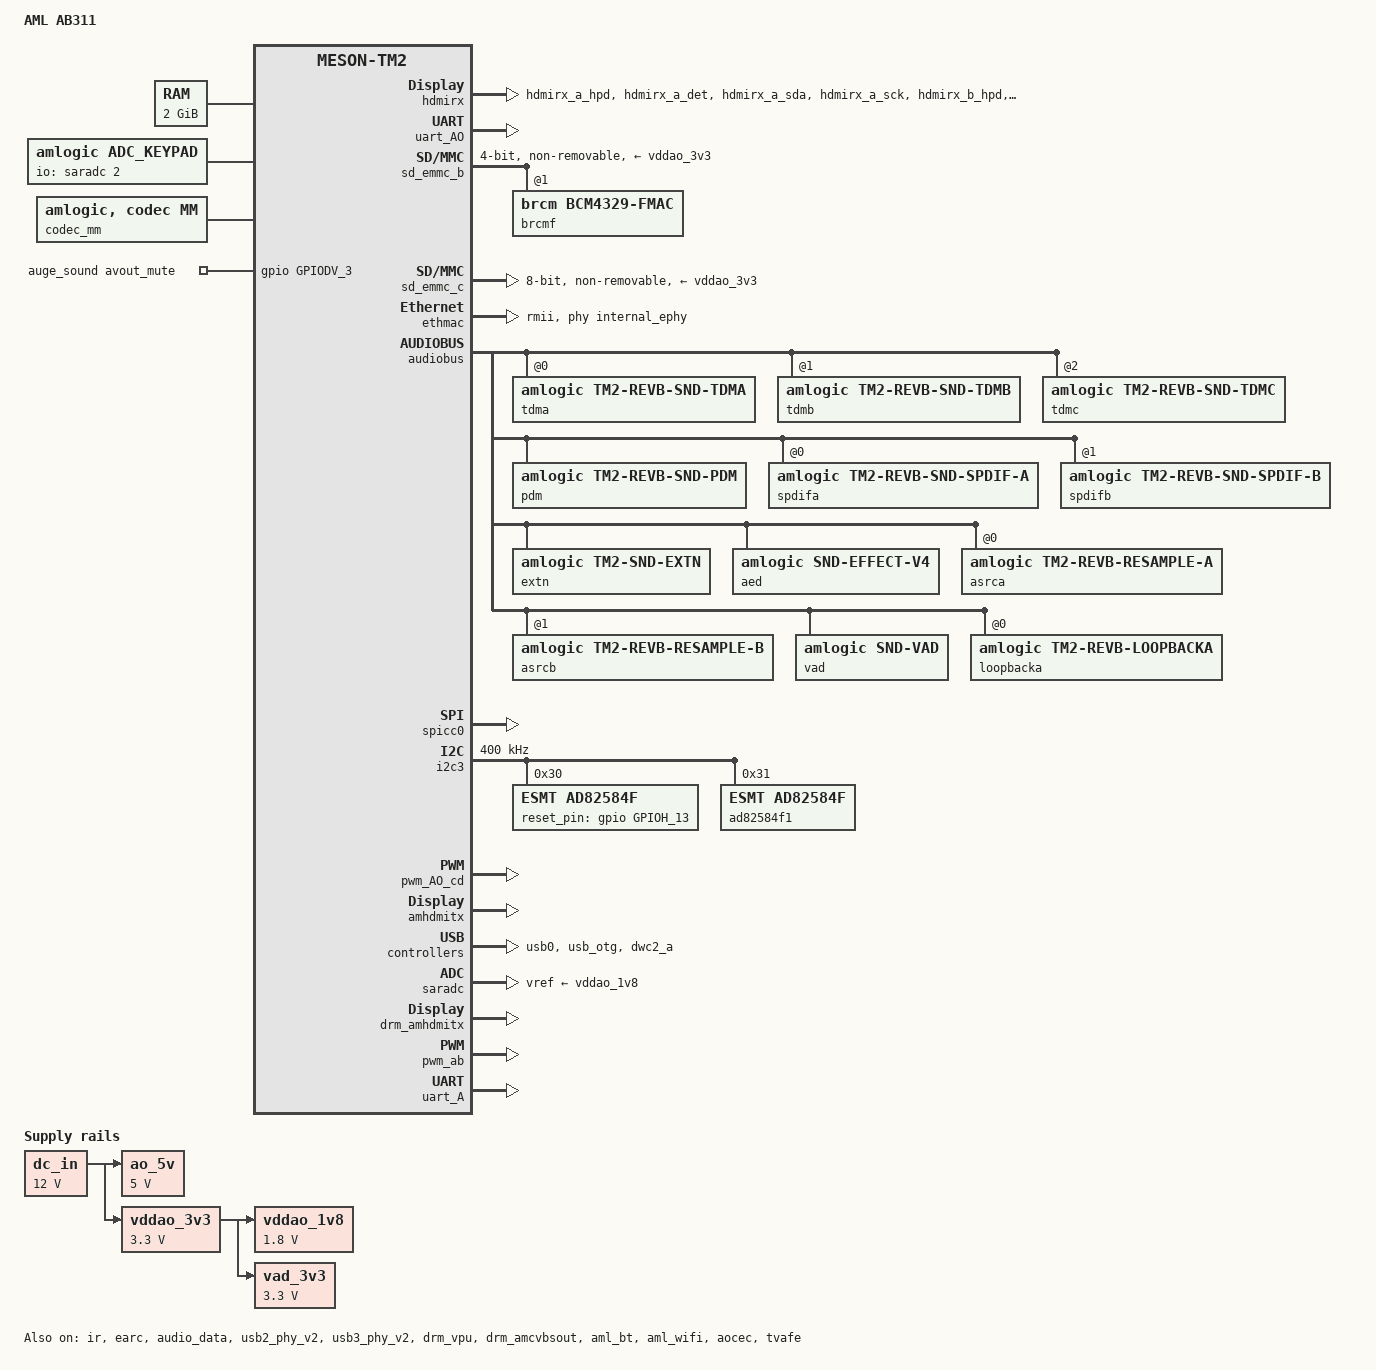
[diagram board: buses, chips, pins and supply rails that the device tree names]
// SPDX-License-Identifier: (GPL-2.0+ OR MIT)
/*
 * Copyright (c) 2019 Amlogic, Inc. All rights reserved.
 */

/dts-v1/;

#include "meson-tm2.dtsi"
#include "mesontm2_drm.dtsi"
#include "partition_normal_linux.dtsi"

/ {
	compatible = "amlogic,tm2";
	model = "AML AB311";

	aliases {
		serial0 = &uart_AO;
		serial1 = &uart_A;
		serial2 = &uart_B;
		serial3 = &uart_C;
		serial4 = &uart_AO_B;
		ethernet0 = &ethmac;
		i2c0 = &i2c0;
		i2c1 = &i2c1;
		i2c2 = &i2c2;
		i2c3 = &i2c3;
		i2c4 = &i2c_AO;
		spi1 = &spicc0;
		spi2 = &spicc1;
		tsensor0 = &p_tsensor;
		tsensor1 = &d_tsensor;
	};

	chosen {
		stdout-path = "serial0:115200n8";
	};

	memory@0 {
		device_type = "memory";
		reg = <0x0 0x0 0x0 0x80000000>;
	};

	adc_keypad {
		compatible = "amlogic, adc_keypad";
		status = "okay";
		key_name = "vol-", "vol+", "enter";
		key_num = <3>;
		io-channels = <&saradc 2>;
		io-channel-names = "key-chan-2";
		key_chan = <2 2 2>;
		key_code = <114 115 28>;
		key_val = <143 266 389>; //val=voltage/1800mV*1023
		key_tolerance = <40 40 40>;
	};

	unifykey {
		compatible = "amlogic,unifykey";
		status = "okay";

		unifykey-num = <25>;
		unifykey-index-0 = <&keysn_0>;
		unifykey-index-1 = <&keysn_1>;
		unifykey-index-2 = <&keysn_2>;
		unifykey-index-3 = <&keysn_3>;
		unifykey-index-4 = <&keysn_4>;
		unifykey-index-5 = <&keysn_5>;
		unifykey-index-6 = <&keysn_6>;
		unifykey-index-7 = <&keysn_7>;
		unifykey-index-8 = <&keysn_8>;
		unifykey-index-9 = <&keysn_9>;
		unifykey-index-10= <&keysn_10>;
		unifykey-index-11 = <&keysn_11>;
		unifykey-index-12 = <&keysn_12>;
		unifykey-index-13 = <&keysn_13>;
		unifykey-index-14 = <&keysn_14>;
		unifykey-index-15 = <&keysn_15>;
		unifykey-index-16 = <&keysn_16>;
		unifykey-index-17 = <&keysn_17>;
		unifykey-index-18 = <&keysn_18>;
		unifykey-index-19 = <&keysn_19>;
		unifykey-index-20 = <&keysn_20>;
		unifykey-index-21 = <&keysn_21>;
		unifykey-index-22 = <&keysn_22>;
		unifykey-index-23 = <&keysn_23>;
		unifykey-index-24 = <&keysn_24>;

		keysn_0: key_0{
			key-name = "usid";
			key-device = "normal";
			key-permit = "read","write","del";
		};
		keysn_1:key_1{
			key-name = "mac";
			key-device  = "normal";
			key-permit = "read","write","del";
		};
		keysn_2:key_2{
			key-name = "hdcp";
			key-device = "secure";
			key-type  = "sha1";
			key-permit = "read","write","del";
		};
		keysn_3:key_3{
			key-name = "secure_boot_set";
			key-device = "efuse";
			key-permit = "write";
		};
		keysn_4:key_4{
			key-name = "mac_bt";
			key-device = "normal";
			key-permit = "read","write","del";
			key-type  = "mac";
		};
		keysn_5:key_5{
			key-name = "mac_wifi";
			key-device = "normal";
			key-permit = "read","write","del";
			key-type  = "mac";
		};
		keysn_6:key_6{
			key-name = "hdcp2_tx";
			key-device = "normal";
			key-permit = "read","write","del";
		};
		keysn_7:key_7{
			key-name = "hdcp2_rx";
			key-device = "normal";
			key-permit = "read","write","del";
		};
		keysn_8:key_8{
			key-name = "widevinekeybox";
			key-device = "secure";
			key-type = "sha1";
			key-permit = "read","write","del";
		};
		keysn_9:key_9{
			key-name = "deviceid";
			key-device = "normal";
			key-permit = "read","write","del";
		};
		keysn_10:key_10{
			key-name = "hdcp22_fw_private";
			key-device = "secure";
			key-permit = "read","write","del";
		};
		keysn_11:key_11{
			key-name = "hdcp22_rx_private";
			key-device = "secure";
			key-permit = "read","write","del";
		};
		keysn_12:key_12{
			key-name = "hdcp22_rx_fw";
			key-device = "normal";
			key-permit = "read","write","del";
		};
		keysn_13:key_13{
			key-name = "hdcp14_rx";
			key-device = "normal";
			key-type  = "sha1";
			key-permit = "read","write","del";
		};
		keysn_14:key_14{
			key-name = "prpubkeybox";// PlayReady
			key-device = "secure";
			key-permit = "read","write","del";
		};
		keysn_15:key_15{
			key-name = "prprivkeybox";// PlayReady
			key-device = "secure";
			key-permit = "read","write","del";
		};
		keysn_16:key_16{
			key-name = "lcd";
			key-device = "normal";
			key-permit = "read","write","del";
		};
		keysn_17:key_17{
			key-name = "lcd_extern";
			key-device = "normal";
			key-permit = "read","write","del";
		};
		keysn_18:key_18{
			key-name = "backlight";
			key-device = "normal";
			key-permit = "read","write","del";
		};
		keysn_19:key_19{
			key-name = "lcd_tcon";
			key-device = "normal";
			key-permit = "read","write","del";
		};
		keysn_20:key_20{
			key-name = "attestationkeybox";// attestation key
			key-device = "secure";
			key-permit = "read","write","del";
		};
		keysn_21:key_21{
			key-name = "lcd_tcon_spi";
			key-device = "normal";
			key-permit = "read","write","del";
		};
		keysn_22:key_22{
			key-name = "attestationdevidbox";// attest dev id box
			key-device = "secure";
			key-permit = "read","write","del";
		};
		keysn_23:key_23{
			key-name = "oemkey";
			key-device = "normal";
			key-permit = "read","write","del";
		};
		keysn_24:key_24{
			key-name = "lcd_optical";
			key-device = "normal";
			key-permit = "read","write","del";
		};
	}; /* End unifykey */

	ao_5v: regulator-ao_5v {
		compatible = "regulator-fixed";
		regulator-name = "AO_5V";
		regulator-min-microvolt = <5000000>;
		regulator-max-microvolt = <5000000>;
		vin-supply = <&dc_in>;
		regulator-always-on;
	};

	dc_in: regulator-dc_in {
		compatible = "regulator-fixed";
		regulator-name = "DC_IN";
		regulator-min-microvolt = <12000000>;
		regulator-max-microvolt = <12000000>;
		regulator-always-on;
	};

	reserved-memory {
		secmon_reserved:linux,secmon {
			compatible = "shared-dma-pool";
			reusable;
			size = <0x0 0x400000>;
			alignment = <0x0 0x400000>;
			alloc-ranges = <0x0 0x05000000 0x0 0x400000>;
		};

		dsp_fw_reserved:linux,dsp_fw {
			compatible = "shared-dma-pool";
			reusable;
			size = <0x0 0x1000000>;
			alignment = <0x0 0x400000>;
			alloc-ranges = <0x0 0x30000000 0x0 0x1000000>;
		};

		/*  POST PROCESS MANAGER */
		ppmgr_reserved:linux,ppmgr {
			compatible = "shared-dma-pool";
			size = <0x0>;
		};

		logo_reserved:linux,meson-fb {
			compatible = "shared-dma-pool";
			reusable;
			size = <0x0 0x800000>;
			alignment = <0x0 0x400000>;
			alloc-ranges = <0x0 0x7f800000 0x0 0x800000>;
		};

		ion_cma_reserved:linux,ion-dev {
			compatible = "shared-dma-pool";
			reusable;
			size = <0x0 0x5c00000>;
			alignment = <0x0 0x400000>;
		};
		ion_fb_reserved:linux,ion-fb {
			compatible = "shared-dma-pool";
			reusable;
			/* 1920x1080x4x4 round up 4M align */
			size = <0x0 0x2400000>;
			alignment = <0x0 0x400000>;
		};

		codec_mm_cma:linux,codec_mm_cma {
			compatible = "shared-dma-pool";
			reusable;
			/* ion_codec_mm max can alloc size 80M*/
			size = <0x0 0x1bc00000>;
			alignment = <0x0 0x400000>;
			linux,contiguous-region;
		};

		/* codec shared reserved */
		codec_mm_reserved:linux,codec_mm_reserved {
			compatible = "amlogic, codec-mm-reserved";
			size = <0x0 0x0>;
			alignment = <0x0 0x100000>;
		};

		/*di CMA pool */
		di_cma_reserved:linux,di_cma {
			//compatible = "shared-dma-pool";
			//reusable;
			//size = <0x0 0x02800000>;
			//alignment = <0x0 0x400000>;
		};

		/*  vdin0 CMA pool */
		//vdin0_cma_reserved:linux,vdin0_cma {
		//	compatible = "shared-dma-pool";
		//	reusable;
			/* 3840x2160x4x4 ~=128 M */
		//	size = <0x0 0xc400000>;
		//	alignment = <0x0 0x400000>;
		//};

		/*  vdin1 CMA pool */
		vdin1_cma_reserved:linux,vdin1_cma {
			compatible = "shared-dma-pool";
			reusable;
			/* 1920x1080x2x5  =20 M */
			size = <0x0 0x1400000>;
			alignment = <0x0 0x400000>;
		};
	};

	codec_mm {
		compatible = "amlogic, codec, mm";
		memory-region = <&codec_mm_cma &codec_mm_reserved>;
		dev_name = "codec_mm";
		status = "okay";
	};

	ppmgr {
		compatible = "amlogic, ppmgr";
		memory-region = <&ppmgr_reserved>;
		dev_name = "ppmgr";
		status = "okay";
	};

	hdmirx {
		compatible = "amlogic, hdmirx_tm2_b";
		#address-cells=<1>;
		#size-cells=<1>;
		/*memory-region = <&hdmirx_emp_cma_reserved>;*/
		status = "okay";
		pinctrl-names = "hdmirx_pins";
		pinctrl-0 = <&hdmirx_a_mux &hdmirx_b_mux
			&hdmirx_c_mux>;
		repeat = <0>;
		/* bit 4: tdr enable bit
		 * bits [3:0]: tdr level control
		 */
		term_lvl = <0x11>;
		interrupts = <0 41 IRQ_TYPE_LEVEL_HIGH>;
		clocks = <&clkc CLKID_HDMIRX_MODET_GATE>,
				<&clkc CLKID_HDMIRX_CFG_GATE>,
				<&clkc CLKID_HDMIRX_ACR_GATE>,
				<&clkc CLKID_HDMIRX_METER_GATE>,
				<&clkc CLKID_HDMIRX_AXI_GATE>,
				<&xtal>,
				<&clkc CLKID_FCLK_DIV3>,
				<&clkc CLKID_FCLK_DIV5>,
				<&clkc CLKID_FCLK_DIV7>,
				<&clkc CLKID_HDMIRX_SKP_GATE>,
				<&clkc CLKID_HDMIRX_ESM_GATE>;
				//<&clkc CLK_AUD_PLL2FS>,
				//<&clkc CLK_AUD_PLL4FS>,
				//<&clkc CLK_AUD_OUT>;
		clock-names = "hdmirx_modet_clk",
				"hdmirx_cfg_clk",
				"hdmirx_acr_ref_clk",
				"cts_hdmirx_meter_clk",
				"cts_hdmi_axi_clk",
				"xtal",
				"fclk_div3",
				"fclk_div5",
				"fclk_div7",
				"hdcp_rx22_skp",
				"hdcp_rx22_esm";
				//"hdmirx_aud_pll2fs",
				//"hdmirx_aud_pll4f",
				//"clk_aud_out";
		hdmirx_id = <0>;
		en_4k_2_2k = <0>;
		hpd_low_cec_off = <0>;
		cec_dev_en = <0>;
		arc_port = <1>;
		/* bit4: enable feature, bit3~0: port number */
		disable_port = <0x0>;
		hdcp_tee_path = <1>;
		/* MAP_ADDR_MODULE_CBUS */
		/* MAP_ADDR_MODULE_HIU */
		/* MAP_ADDR_MODULE_HDMIRX_CAPB3 */
		/* MAP_ADDR_MODULE_SEC_AHB */
		/* MAP_ADDR_MODULE_SEC_AHB2 */
		/* MAP_ADDR_MODULE_APB4 */
		/* MAP_ADDR_MODULE_TOP */
		/* MAP_ADDR_MODULE_CLK_CTRL */
		reg = < 0x0 0x0 0x0 0x0
			0x0 0xff63C000 0x0 0x2000
			0x0 0xffe0d000 0x0 0x2000
			0x0 0x0 0x0 0x0
			0x0 0x0 0x0 0x0
			0x0 0x0 0x0 0x0
			0x0 0xff610000 0x0 0xa000>;
	};

	aml_dtv_demod {
		compatible = "amlogic, ddemod-tm2";
		dev_name = "aml_dtv_demod";
		status = "disabled";

		//pinctrl-names="dtvdemod_agc";
		//pinctrl-0=<&dtvdemod_agc>;

		clocks = <&clkc CLKID_DAC_CLK>;
		clock-names = "vdac_clk_gate";

		reg = <0x0 0xff650000 0x0 0x4000	/*dtv demod base*/
			   0x0 0xff63c000 0x0 0x2000	/*hiu reg base*/
			   0x0 0xff800000 0x0 0x1000	/*io_aobus_base*/
			   0x0 0xffd01000 0x0 0x1000	/*reset*/
			>;

		spectrum = <1>;
		cma_mem_size = <8>; // MB

		power-domains = <&pwrc PWRC_TM2_DEMOD_ID>;
	};

	atv-demod {
		compatible = "amlogic, atv-demod";
		status = "disabled";
		btsc_sap_mode = <1>;
		interrupts = <0 236 1>;
		/* pinctrl-names="atvdemod_agc_pins"; */
		/* pinctrl-0=<&atvdemod_agc_pins>; */
		reg = <0x0 0xff656000 0x0 0x2000 /* demod reg */
				0x0 0xff63c000 0x0 0x2000 /* hiu reg */
				0x0 0xff634000 0x0 0x2000 /* periphs reg */
				0x0 0xff64a000 0x0 0x2000>; /* audio reg */
		reg_23cf = <0x88188832>;
		/*default:0x88188832;r840 on haier:0x48188832*/
		power-domains = <&pwrc PWRC_TM2_ATVDEMOD_ID>;
	};

	dvb-extern {
		compatible = "amlogic, dvb-extern";
		dev_name = "dvb-extern";
		status = "disabled";

		fe_num = <1>;
		fe0_demod = "internal";

		tuner_num = <1>; /* tuner number, multi tuner support */
		tuner0_name = "si2151_tuner";
		tuner0_i2c_adap = <&i2c0>;
		tuner0_i2c_addr = <0x60>;
		/* tuner0_xtal = <0>; */ /* unuse for si2151 */
		/* tuner0_xtal_mode = <0>; */
		/* tuner0_xtal_cap = <0>; */
	};

	dvb-demux {
		compatible = "amlogic, dvb-demux";
		dev_name = "dvb-demux";
		status = "disabled";

		dmx = <&demux>;
		key_endia = <1>;
		add_s2p2 = <1>;
		add_ts_in = <1>;
		add_asyncfifo = <1>;

		/*"parallel","serial","disable"*/
		ts2 = "parallel";
		ts2_control = <0>;
		ts2_invert = <0>;

		clocks = <&clkc CLKID_DEMUX
		&clkc CLKID_AHB_ARB0
		&clkc CLKID_U_PARSER>;
		clock-names = "demux", "ahbarb0", "parser_top";
		pinctrl-names = "p_ts2";
		pinctrl-0 = <&dvb_p_ts2_pins>;
	};

	tvafe_avin_detect {
		compatible = "amlogic, tm2_tvafe_avin_detect";
		status = "okay";
		device_mask = <1>;/*bit0:ch1;bit1:ch2*/
		interrupts = <0 12 1>,
			<0 13 1>;
	};

	auge_sound {
		compatible = "amlogic, auge-sound-card";
		aml-audio-card,name = "AML-AUGESOUND";

		avout_mute-gpios = <&gpio GPIODV_3 GPIO_ACTIVE_HIGH>;

		interrupts = <GIC_SPI 235 IRQ_TYPE_EDGE_RISING>;
		interrupt-names = "audio_exception64";

		aml-audio-card,dai-link@0 {
			format = "i2s";
			mclk-fs = <256>;
			continuous-clock;
			//bitclock-inversion;
			//frame-inversion;
			/* master mode */
			bitclock-master = <&tdma>;
			frame-master = <&tdma>;
			/* slave mode */
			/*
			 * bitclock-master = <&tdmacodec>;
			 * frame-master = <&tdmacodec>;
			 */
			/* suffix-name, sync with android audio hal used for */
			suffix-name = "alsaPORT-i2s";
			tdmacpu: cpu {
				sound-dai = <&tdma>;
				dai-tdm-slot-tx-mask =
							<1 1>;
				dai-tdm-slot-rx-mask =
							<1 1>;
				dai-tdm-slot-num = <2>;
				dai-tdm-slot-width = <32>;
				system-clock-frequency = <12288000>;
			};
			tdmacodec: codec {
				//sound-dai = <&dummy_codec>;
				prefix-names = "AMP", "AMP1";
				sound-dai = <&ad82584f &ad82584f1 &tl1_codec>;
			};
		};

		aml-audio-card,dai-link@1 {
			format = "i2s";
			mclk-fs = <256>;
			//continuous-clock;
			//bitclock-inversion;
			//frame-inversion;
			/* master mode */
			bitclock-master = <&tdmb>;
			frame-master = <&tdmb>;
			/* slave mode */
			//bitclock-master = <&tdmbcodec>;
			//frame-master = <&tdmbcodec>;
			/* suffix-name, sync with android audio hal used for */
			suffix-name = "alsaPORT-pcm";
			cpu {
				sound-dai = <&tdmb>;
				dai-tdm-slot-tx-mask = <1 1>;
				dai-tdm-slot-rx-mask = <1 1>;
				dai-tdm-slot-num = <2>;
				/*
				 * dai-tdm-slot-tx-mask =
				 *	<1 1 1 1 1 1 1 1>;
				 * dai-tdm-slot-rx-mask =
				 *	<1 1 1 1 1 1 1 1>;
				 * dai-tdm-slot-num = <8>;
				 */
				dai-tdm-slot-width = <32>;
				system-clock-frequency = <12288000>;
			};
			tdmbcodec: codec {
				sound-dai = <&dummy_codec>;
			};
		};

		aml-audio-card,dai-link@2 {
			format = "i2s";
			mclk-fs = <256>;
			//continuous-clock;
			//bitclock-inversion;
			//frame-inversion;
			/* master mode */
			bitclock-master = <&tdmc>;
			frame-master = <&tdmc>;
			/* slave mode */
			//bitclock-master = <&tdmccodec>;
			//frame-master = <&tdmccodec>;
			/* suffix-name, sync with android audio hal used for */
			//suffix-name = "alsaPORT-tdm";
			cpu {
				sound-dai = <&tdmc>;
				dai-tdm-slot-tx-mask = <1 1>;
				dai-tdm-slot-rx-mask = <1 1>;
				dai-tdm-slot-num = <2>;
				dai-tdm-slot-width = <32>;
				system-clock-frequency = <12288000>;
			};
			tdmccodec: codec {
				sound-dai = <&dummy_codec>;
			};
		};

		aml-audio-card,dai-link@3 {
			mclk-fs = <64>;
			/* suffix-name, sync with android audio hal used for */
			suffix-name = "alsaPORT-pdm-builtinmic";
			cpu {
				sound-dai = <&pdm>;
			};
			codec {
				sound-dai = <&dummy_codec>;
			};
		};

		aml-audio-card,dai-link@4 {
			mclk-fs = <128>;
			continuous-clock;
			/* suffix-name, sync with android audio hal used for */
			suffix-name = "alsaPORT-spdif";
			cpu {
				sound-dai = <&spdifa>;
				system-clock-frequency = <6144000>;
			};
			codec {
				sound-dai = <&dummy_codec>;
			};
		};

		aml-audio-card,dai-link@5 {
			mclk-fs = <128>;
			suffix-name = "alsaPORT-spdifb";
			cpu {
				sound-dai = <&spdifb>;
				system-clock-frequency = <6144000>;
			};
			codec {
				sound-dai = <&dummy_codec>;
			};
		};

		aml-audio-card,dai-link@6 {
			mclk-fs = <256>;
			suffix-name = "alsaPORT-tv";
			cpu {
				sound-dai = <&extn>;
				system-clock-frequency = <12288000>;
			};
			codec {
				sound-dai = <&dummy_codec>;
			};
		};

		aml-audio-card,dai-link@7 {
			mclk-fs = <256>;
			suffix-name = "alsaPORT-earc";
			cpu {
				sound-dai = <&earc>;
				system-clock-frequency = <12288000>;
			};
			codec {
				sound-dai = <&dummy_codec>;
			};
		};

		aml-audio-card,dai-link@8 {
			mclk-fs = <256>;
			continuous-clock;
			suffix-name = "alsaPORT-loopback";
			cpu {
				sound-dai = <&loopbacka>;
				system-clock-frequency = <12288000>;
			};
			codec {
				sound-dai = <&dummy_codec>;
			};
		};
	};

	amlvecm {
		compatible = "amlogic, vecm-tm2-verb";
		dev_name = "aml_vecm";
		status = "okay";
		gamma_en = <0>;/*1:enabel ;0:disable*/
		wb_en = <0>;/*1:enabel ;0:disable*/
		cm_en = <0>;/*1:enabel ;0:disable*/
		wb_sel = <0>;/*1:mtx ;0:gainoff*/
		vlock_en = <0>;/*1:enable;0:disable*/
		vlock_mode = <0x8>;
		/* vlock work mode:
		 *bit0:auto ENC
		 *bit1:auto PLL
		 *bit2:manual PLL
		 *bit3:manual ENC
		 *bit4:manual soft ENC
		 *bit5:manual MIX PLL ENC
		 */
		 vlock_pll_m_limit = <1>;
		 vlock_line_limit = <2>;
	};

	amdolby_vision {
		compatible = "amlogic, dolby_vision_tm2";
		dev_name = "aml_amdolby_vision_driver";
		status = "okay";
		tv_mode = <0>;/*1:enabel ;0:disable*/
	};

	vdin@0 {
		compatible = "amlogic, vdin-tm2verb";
		/*memory-region = <&vdin0_cma_reserved>;*/
		status = "okay";
		/*bit0:(1:share with codec_mm;0:cma alone)
		 *bit8:(1:alloc in discontinus way;0:alone in continuous way)
		 */
		flag_cma = <0x101>;
		/*MByte, if 10bit disable: 64M(YUV422),
		 *if 10bit enable: 64*1.5 = 96M(YUV422)
		 *if support 4K2K-YUV444-10bit-WR:3840*2160*4*6 ~= 200M
		 *if support 4K2K-YUV422-10bit-wr:3840*2160*3*6 ~= 160M
		 *if support 4K2K-YUV422-8BIT-WR:3840*2160*2*4 ~= 64M
		 *if support 1080p-YUV422-8BIT-WR:1920*1080*2*4 ~= 16M
		 *worst case:(4096*2160*3 + 2M(afbce issue)) *10buf = 273.5M
		 *for double write 4k, need extra 25M for 960x540(1/4 down)
		 */
		cma_size = <300>;
		/* max buffer number */
		frame_buff_num = <10>;
		interrupts = <0 83 1 /* vdin0 vsync */
			      0 72 1>;/* vpu crash */
		rdma-irq = <2>;
		clocks = <&clkc CLKID_FCLK_DIV5>,
			<&clkc CLKID_VDIN_MEAS>;
		clock-names = "fclk_div5", "cts_vdin_meas_clk";
		vdin_id = <0>;
		/*vdin write mem color depth support:
		 * bit0:support 8bit
		 * bit1:support 9bit
		 * bit2:support 10bit
		 * bit3:support 12bit
		 * bit4:support yuv422 10bit full pack mode (from txl new add)
		 * bit5:force yuv422 to yuv444 malloc (for vdin0 debug)
		 * bit8:use 8bit  at 4k_50/60hz_10bit
		 * bit9:use 10bit at 4k_50/60hz_10bit
		 * bit10: support 10bit when double write
		 */
		tv_bit_mode = <0x235>;
		/* afbce_bit_mode: (amlogic frame buff compression encoder)
		 * bit0 -- enable afbce
		 * bit1 -- enable afbce compression-lossy
		 * bit4 -- afbce for 4k
		 * bit5 -- afbce for 1080p
		 * bit6 -- afbce for 720p
		 * bit7 -- afbce for smaller resolution
		 */
		afbce_bit_mode = <0x11>;
		/* urgent_en; */
		double_write_en;
		v4l_support_en = <0>;
	};

	vdin@1 {
		compatible = "amlogic, vdin-tm2verb";
		memory-region = <&vdin1_cma_reserved>;
		status = "okay";
		/*bit0:(1:share with codec_mm;0:cma alone)
		 *bit8:(1:alloc in discontinus way;0:alone in continuous way)
		 */
		flag_cma = <0>;
		interrupts = <0 85 1>;
		rdma-irq = <4>;
		clocks = <&clkc CLKID_FCLK_DIV5>,
			<&clkc CLKID_VDIN_MEAS>;
		clock-names = "fclk_div5", "cts_vdin_meas_clk";
		vdin_id = <1>;
		/*vdin write mem color depth support:
		 *bit0:support 8bit
		 *bit1:support 9bit
		 *bit2:support 10bit
		 *bit3:support 12bit
		 */
		tv_bit_mode = <0x15>;
		/*urgent_en*/
	};

	vddao_1v8: regulator-vddao_1v8 {
		compatible = "regulator-fixed";
		regulator-name = "VDDAO_1V8";
		regulator-min-microvolt = <1800000>;
		regulator-max-microvolt = <1800000>;
		vin-supply = <&vddao_3v3>;
		regulator-always-on;
	};

	vddao_3v3: regulator-vddao_3v3 {
		compatible = "regulator-fixed";
		regulator-name = "VDDAO_3V3";
		regulator-min-microvolt = <3300000>;
		regulator-max-microvolt = <3300000>;
		vin-supply = <&dc_in>;
		regulator-always-on;
	};

	vad_3v3: regulator-vad_3v3 {
		compatible = "regulator-fixed";
		regulator-name = "VAD_3V3";
		regulator-min-microvolt = <3300000>;
		regulator-max-microvolt = <3300000>;
		vin-supply = <&vddao_3v3>;
		regulator-always-on;
	};

	multi-di {
		//status = "okay";
		/***************************************************
		 * memory: default is 4
		 *	0:use reserved;
		 *	1:use cma;
		 *	2:use cma as reserved
		 *  4:use codec mem
		 ***************************************************/
		//flag_cma = <4>;//t5d unsupport 4K,di 1CH need 42M
		//memory-region = <&di_cma_reserved>;
		/***************************************************
		 * clock-range: <min max>
		 *	default: <334 334>
		 ***************************************************/
		//clock-range = <334 334>;
		/***************************************************
		 * en_4k: t5d not support 4k
		 ***************************************************/
		//en_4k = <0>;
		//keep_dec_vf = <0>;
		//po_fmt = <0>;
		/***************************************************
		 * post_nub: default is 7
		 ***************************************************/
		//post_nub = <7>;
	};

       aocec: aocec {
		compatible = "amlogic, aocec-tm2";
		/*device_name = "aocec";*/
		status = "okay";
		vendor_name = "Amlogic"; /* Max Chars: 8         */
		/* Refer to the following URL at:
		 * http://standards.ieee.org/develop/regauth/oui/oui.txt
		 */
		vendor_id = <0xffffff>;
		product_desc = "TM2"; /* Max Chars: 16    */
		cec_osd_string = "AML_TV"; /* Max Chars: 14    */
		port_num = <4>;
		ee_cec;
		/*cec_sel = <2>;*/
		output = <1>;   /*output port number*/
		arc_port_mask = <0x2>;
		interrupts = <0 203 1
			0 199 1>;
		interrupt-names = "hdmi_aocecb","hdmi_aocec";
		pinctrl-names = "default","hdmitx_aocecb","cec_pin_sleep";
		pinctrl-0=<&aoceca_mux>;
		pinctrl-1=<&aocecb_mux>;
		pinctrl-2=<&aoceca_mux>;
		reg = <0x0 0xFF80023c 0x0 0x4
			0x0 0xFF800000 0x0 0x400>;
		reg-names = "ao_exit","ao";
	};

	cpu_opp_table0: cpu_opp_table0 {
		compatible = "operating-points-v2";
		opp-shared;

		opp00 {
			opp-hz = /bits/ 64 <100000000>;
			opp-microvolt = <780000>;
		};
		opp01 {
			opp-hz = /bits/ 64 <250000000>;
			opp-microvolt = <780000>;
		};
		opp02 {
			opp-hz = /bits/ 64 <500000000>;
			opp-microvolt = <780000>;
		};
		opp03 {
			opp-hz = /bits/ 64 <667000000>;
			opp-microvolt = <780000>;
		};
		opp04 {
			opp-hz = /bits/ 64 <1000000000>;
			opp-microvolt = <780000>;
		};
		opp05 {
			opp-hz = /bits/ 64 <1200000000>;
			opp-microvolt = <800000>;
		};
		opp06 {
			opp-hz = /bits/ 64 <1404000000>;
			opp-microvolt = <810000>;
		};
		opp07 {
			opp-hz = /bits/ 64 <1500000000>;
			opp-microvolt = <820000>;
		};
		opp08 {
			opp-hz = /bits/ 64 <1608000000>;
			opp-microvolt = <870000>;
		};
		opp09 {
			opp-hz = /bits/ 64 <1704000000>;
			opp-microvolt = <920000>;
		};
		opp10 {
			opp-hz = /bits/ 64 <1800000000>;
			opp-microvolt = <970000>;
		};
		opp11 {
			opp-hz = /bits/ 64 <1908000000>;
			opp-microvolt = <1020000>;
		};
	};

	cpufreq-meson {
		compatible = "amlogic, cpufreq-meson";
		pinctrl-names = "default";
		//pinctrl-0 = <&pwm_ao_d_pins3>;
		status = "okay";
	};

	picdec {
		compatible = "amlogic, picdec";
		status = "okay";
	};

	tvafe {
		compatible = "amlogic, tvafe-tm2_b";
		/*memory-region = <&tvafe_cma_reserved>;*/
		status = "okay";
		flag_cma = <1>;/*1:share with codec_mm;0:cma alone*/
		cma_size = <5>;/*MByte*/
		reg = <0x0 0xff654000 0x0 0x2000>; /*tvafe reg base*/
		reserve-iomap = "true";
		tvafe_id = <0>;
		//pinctrl-names = "default";
		/*!!particular sequence, no more and no less!!!*/
		tvafe_pin_mux = <
				3 /* TVAFE_CVBS_IN2, CVBS_IN0 = 0 */
				1 /* TVAFE_CVBS_IN0, CVBS_IN1 */
				2 /* TVAFE_CVBS_IN1, CVBS_IN2 */
				4 /* TVAFE_CVBS_IN3, CVBS_IN3 */
		>;
		clocks = <&clkc CLKID_DAC_CLK>;
		clock-names = "vdac_clk_gate";

		cutwindow_val_h = <0 0 0 0 8>; /* level 0~4 */
		cutwindow_val_v = <4 8 14 16 24>;  /* level 0~4 */

		power-domains = <&pwrc PWRC_TM2_TVFE_ID>;
	};

	vbi {
		compatible = "amlogic, vbi";
		status = "okay";
		interrupts = <0 83 1>;
	};

	cvbsout {
		compatible = "amlogic, cvbsout-tm2";
		status = "okay";
		clocks = <&clkc CLKID_VCLK2_ENCI
			&clkc CLKID_VCLK2_VENCI0
			&clkc CLKID_VCLK2_VENCI1
			&clkc CLKID_DAC_CLK>;
		clock-names = "venci_top_gate",
			"venci_0_gate",
			"venci_1_gate",
			"vdac_clk_gate";
		/* clk path */
		/* 0:vid_pll vid2_clk */
		/* 1:gp0_pll vid2_clk */
		/* 2:vid_pll vid1_clk */
		/* 3:gp0_pll vid1_clk */
		clk_path = <0>;

		/* performance: reg_address, reg_value */
		/* tm2 */
		performance = <0x1bf0  0x9
			0x1b56  0x333
			0x1b12  0x8080
			0x1b05  0xfd
			0x1c59  0xf850
			0xffff  0x0>; /* ending flag */
		performance_sarft = <0x1bf0  0x9
			0x1b56  0x333
			0x1b12  0x0
			0x1b05  0x9
			0x1c59  0xfc48
			0xffff  0x0>; /* ending flag */
		performance_revB_telecom = <0x1bf0  0x9
			0x1b56  0x546
			0x1b12  0x8080
			0x1b05  0x9
			0x1c59  0xf850
			0xffff  0x0>; /* ending flag */
	};
};

/* Exposed via the on-board USB to Serial FT232RL IC */
&uart_AO {
	status = "okay";
};

&sd_emmc_b {
	status = "okay";
	pinctrl-0 = <&sdcard_pins>;
	pinctrl-1 = <&sdcard_clk_gate_pins>;
	pinctrl-names = "default", "clk-gate";
	#address-cells = <1>;
	#size-cells = <0>;

	bus-width = <4>;
	cap-sd-highspeed;
	sd-uhs-sdr50;
	sd-uhs-sdr104;
	max-frequency = <200000000>;

	non-removable;
	disable-wp;
	cap-sdio-irq;
	keep-power-in-suspend;
	card_type = <3>;

	power-domains = <&pwrc PWRC_TM2_EMMCB_ID>;
//	mmc-pwrseq = <&sdio_pwrseq>;

	vmmc-supply = <&vddao_3v3>;
	vqmmc-supply = <&vddao_1v8>;

	brcmf: wifi@1 {
		reg = <1>;
		compatible = "brcm,bcm4329-fmac";
	};
};

&sd_emmc_c {
	status = "okay";
	pinctrl-0 = <&emmc_pins>, <&emmc_ds_pins>;
	pinctrl-1 = <&emmc_clk_gate_pins>;
	pinctrl-names = "default", "clk-gate";

	bus-width = <8>;
	cap-mmc-highspeed;
	//mmc-ddr-1_8v;
	mmc-hs200-1_8v;
	mmc-hs400-1_8v;
	max-frequency = <200000000>;
	non-removable;
	disable-wp;

	power-domains = <&pwrc PWRC_TM2_EMMCC_ID>;
//	mmc-pwrseq = <&emmc_pwrseq>;
	vmmc-supply = <&vddao_3v3>;
	vqmmc-supply = <&vddao_1v8>;
};

&ethmac {
	status = "okay";
	phy-handle = <&internal_ephy>;
	phy-mode = "rmii";
};

&i2c0 {
	status = "disabled";
	clock-frequency = <300000>;
	pinctrl-names = "default";
	pinctrl-0 = <&i2c0_dv_pins>;
};

&ir {
	status = "okay";
	pinctrl-names = "default";
	pinctrl-0 = <&remote_input_ao_pins>;
};

&audiobus {
	tdma:tdm@0 {
		compatible = "amlogic, tm2-revb-snd-tdma";
		#sound-dai-cells = <0>;

		dai-tdm-lane-slot-mask-in = <1 0>;
		dai-tdm-lane-slot-mask-out = <1 1 1 1>;
		dai-tdm-clk-sel = <0>;

		clocks = <&clkaudio CLKID_AUDIO_MCLK_A
				&clkaudio CLKID_AUDIO_MCLK_PAD0
				&clkc CLKID_MPLL0
				&clkc CLKID_MPLL1
				&clkaudio CLKID_AUDIO_SPDIFOUT_A>;
		clock-names = "mclk", "mclk_pad", "clk_srcpll",
			"samesource_srcpll", "samesource_clk";

		pinctrl-names = "tdm_pins";
		pinctrl-0 = <&tdma_mclk &tdmout_a>;

		/*
		 * 0: tdmout_a;
		 * 1: tdmout_b;
		 * 2: tdmout_c;
		 * 3: spdifout;
		 * 4: spdifout_b;
		 */
		samesource_sel = <3>;

		/* In for ACODEC_ADC */
		tdmin-src-name = "acodec_adc";
		/*enable default mclk(12.288M), before extern codec start*/
		start_clk_enable = <1>;

		/*tdm clk tuning enable*/
		clk_tuning_enable = <1>;

		/* enable control gain */
		ctrl_gain = <1>;

		status = "okay";

		/* !!!For --TV platform-- ONLY */
		Channel_Mask {
			/*i2s has 4 pins, 8channel, mux output*/
			Spdif_samesource_Channel_Mask = "i2s_2/3";
		};
	};

	tdmb:tdm@1 {
		compatible = "amlogic, tm2-revb-snd-tdmb";
		#sound-dai-cells = <0>;

		dai-tdm-lane-slot-mask-in = <1 0 0 0>;
		dai-tdm-lane-slot-mask-out = <0 1 0 0>;
		dai-tdm-clk-sel = <1>;

		clocks = <&clkaudio CLKID_AUDIO_MCLK_B
				&clkc CLKID_MPLL1>;
		clock-names = "mclk", "clk_srcpll";

		/* enable control gain */
		ctrl_gain = <1>;

		status = "okay";
	};

	tdmc:tdm@2 {
		compatible = "amlogic, tm2-revb-snd-tdmc";
		#sound-dai-cells = <0>;

		dai-tdm-lane-slot-mask-in = <1 0 0 0>;
		dai-tdm-lane-slot-mask-out = <1 0 0 0>;
		dai-tdm-clk-sel = <2>;

		clocks = <&clkaudio CLKID_AUDIO_MCLK_C
				&clkc CLKID_MPLL2>;
		clock-names = "mclk", "clk_srcpll";

		pinctrl-names = "tdm_pins";
		pinctrl-0 = <&tdmout_c &tdmin_c>;

		/* enable control gain */
		ctrl_gain = <1>;

		status = "okay";
	};

	tdmlb:tdm@3 {
		compatible = "amlogic, tm2-snd-tdmlb";
		#sound-dai-cells = <0>;

		dai-tdm-lane-lb-slot-mask-in = <1 0 0 0>;
		dai-tdm-clk-sel = <1>;

		clocks = <&clkaudio CLKID_AUDIO_MCLK_B
				&clkc CLKID_MPLL1>;
		clock-names = "mclk", "clk_srcpll";

		/*
		 * select tdmin_lb src;
		 * AXG
		 *  0: TDMOUTA
		 *  1: TDMOUTB
		 *  2: TDMOUTC
		 *  3: PAD_TDMINA
		 *  4: PAD_TDMINB
		 *  5: PAD_TDMINC
		 *
		 * G12A/G12B
		 *  0: TDMOUTA
		 *  1: TDMOUTB
		 *  2: TDMOUTC
		 *  3: PAD_TDMINA_DIN*
		 *  4: PAD_TDMINB_DIN*
		 *  5: PAD_TDMINC_DIN*
		 *  6: PAD_TDMINA_D*, oe pin
		 *  7: PAD_TDMINB_D*, oe pin
		 *
		 * TL1/SM1
		 *  0: TDMOUTA
		 *  1: TDMOUTB
		 *  2: TDMOUTC
		 *  3: PAD_TDMINA_DIN*
		 *  4: PAD_TDMINB_DIN*
		 *  5: PAD_TDMINC_DIN*
		 *  6: PAD_TDMINA_D*
		 *  7: PAD_TDMINB_D*
		 *  8: PAD_TDMINC_D*
		 *  9: HDMIRX_I2S
		 *  10: ACODEC_ADC
		 */
		lb-src-sel = <1>;

		status = "disabled";
	};

	pdm:pdm {
		compatible = "amlogic, tm2-revb-snd-pdm";
		#sound-dai-cells = <0>;

		clocks = <&clkaudio CLKID_AUDIO_GATE_PDM
			&clkc CLKID_FCLK_DIV3
			&clkc CLKID_MPLL3
			&clkaudio CLKID_AUDIO_PDMIN0
			&clkaudio CLKID_AUDIO_PDMIN1>;
		clock-names = "gate",
			"sysclk_srcpll",
			"dclk_srcpll",
			"pdm_dclk",
			"pdm_sysclk";

		pinctrl-names = "pdm_pins";
		pinctrl-0 = <&pdmin>;

		/* mode 0~4, defalut:1 */
		filter_mode = <1>;

		status = "okay";
	};

	spdifa:spdif@0 {
		compatible = "amlogic, tm2-revb-snd-spdif-a";
		#sound-dai-cells = <0>;

		clocks = <&clkc CLKID_MPLL1
				&clkc CLKID_FCLK_DIV4
				&clkaudio CLKID_AUDIO_GATE_SPDIFIN
				&clkaudio CLKID_AUDIO_GATE_SPDIFOUT_A
				&clkaudio CLKID_AUDIO_SPDIFIN
				&clkaudio CLKID_AUDIO_SPDIFOUT_A>;
		clock-names = "sysclk", "fixed_clk", "gate_spdifin",
				"gate_spdifout", "clk_spdifin", "clk_spdifout";

		interrupts =
				<GIC_SPI 151 IRQ_TYPE_EDGE_RISING>;
		interrupt-names = "irq_spdifin";

		pinctrl-names = "spdif_pins",
				"spdif_pins_mute";
		pinctrl-0 = <&spdifin_a>;
		//pinctrl-1 = <&spdifout_a_mute>;

		/*
		 * whether do asrc for pcm and resample a or b
		 * if raw data, asrc is disabled automatically
		 * 0: "Disable",
		 * 1: "Enable:32K",
		 * 2: "Enable:44K",
		 * 3: "Enable:48K",
		 * 4: "Enable:88K",
		 * 5: "Enable:96K",
		 * 6: "Enable:176K",
		 * 7: "Enable:192K",
		 */
		asrc_id = <0>;
		auto_asrc = <0>;

		/*spdif clk tuning enable*/
		clk_tuning_enable = <1>;
		status = "okay";
	};

	spdifb:spdif@1 {
		compatible = "amlogic, tm2-revb-snd-spdif-b";
		#sound-dai-cells = <0>;

		clocks = <&clkc CLKID_MPLL0 /*CLKID_HIFI_PLL*/
				&clkaudio CLKID_AUDIO_GATE_SPDIFOUT_B
				&clkaudio CLKID_AUDIO_SPDIFOUT_B>;
		clock-names = "sysclk",
				"gate_spdifout", "clk_spdifout";

		status = "okay";
	};

	extn:extn {
		compatible = "amlogic, tm2-snd-extn";
		#sound-dai-cells = <0>;

		interrupts =
				<GIC_SPI 158 IRQ_TYPE_EDGE_RISING>;
		interrupt-names = "irq_frhdmirx";

		status = "okay";
	};

	aed:effect {
		compatible = "amlogic, snd-effect-v4";
		#sound-dai-cells = <0>;

		clocks = <&clkaudio CLKID_AUDIO_GATE_EQDRC
			&clkc CLKID_FCLK_DIV5
			&clkaudio CLKID_AUDIO_EQDRC>;
		clock-names = "gate", "srcpll", "eqdrc";

		/*
		 * 0:tdmout_a
		 * 1:tdmout_b
		 * 2:tdmout_c
		 * 3:spdifout
		 * 4:spdifout_b
		 */
		eqdrc_module = <0>;
		/* max 0xf, each bit for one lane, usually one lane */
		lane_mask = <0x1>;
		/* max 0xff, each bit for one channel */
		channel_mask = <0xff>;

		status = "okay";
	};

	asrca: resample@0 {
		compatible = "amlogic, tm2-revb-resample-a";
		clocks = <&clkc CLKID_MPLL0
			&clkaudio CLKID_AUDIO_MCLK_A
			&clkaudio CLKID_AUDIO_RESAMPLE_A>;
		clock-names = "resample_pll", "resample_src", "resample_clk";

		/*same with toddr_src
		 *	TDMIN_A,    0
		 *	TDMIN_B,    1
		 *	TDMIN_C,    2
		 *	SPDIFIN,    3
		 *	PDMIN,      4
		 *	FRATV,      5
		 *	TDMIN_LB,   6
		 *	LOOPBACK_A, 7
		 *	FRHDMIRX,   8
		 *	LOOPBACK_B, 9
		 *	SPDIFIN_LB, 10
		 *	EARC_RX,    11
		 */
		resample_module = <8>;

		status = "okay";
	};

	asrcb: resample@1 {
		compatible = "amlogic, tm2-revb-resample-b";
		clocks = <&clkc CLKID_MPLL3
			&clkaudio CLKID_AUDIO_MCLK_F
			&clkaudio CLKID_AUDIO_RESAMPLE_B>;
		clock-names = "resample_pll", "resample_src", "resample_clk";

		/*this resample is only used for loopback_A.*/

		status = "okay";
	};

	vad:vad {
		compatible = "amlogic, snd-vad";
		#sound-dai-cells = <0>;

		clocks = <&clkaudio CLKID_AUDIO_GATE_TOVAD
			&clkc CLKID_FCLK_DIV5
			&clkaudio CLKID_AUDIO_VAD>;
		clock-names = "gate", "pll", "clk";

		interrupts = <GIC_SPI 155 IRQ_TYPE_EDGE_RISING
				GIC_SPI 47 IRQ_TYPE_EDGE_RISING>;
		interrupt-names = "irq_wakeup", "irq_frame_sync";

		/*
		 * Data src sel:
		 * 0: tdmin_a;
		 * 1: tdmin_b;
		 * 2: tdmin_c;
		 * 3: spdifin;
		 * 4: pdmin;
		 * 5: loopback_b;
		 * 6: tdmin_lb;
		 * 7: loopback_a;
		 */
		src = <4>;

		/*
		 * deal with hot word in user space or kernel space
		 * 0: in user space
		 * 1: in kernel space
		 */
		level = <1>;

		status = "okay";
	};

	loopbacka:loopback@0 {
		compatible = "amlogic, tm2-revb-loopbacka";
		#sound-dai-cells = <0>;

		clocks = <&clkaudio CLKID_AUDIO_GATE_PDM
			&clkc CLKID_FCLK_DIV3
			&clkc CLKID_MPLL3
			&clkaudio CLKID_AUDIO_PDMIN0
			&clkaudio CLKID_AUDIO_PDMIN1
			&clkc CLKID_MPLL0
			&clkaudio CLKID_AUDIO_MCLK_A>;
		clock-names = "pdm_gate",
			"pdm_sysclk_srcpll",
			"pdm_dclk_srcpll",
			"pdm_dclk",
			"pdm_sysclk",
			"tdminlb_mpll",
			"tdminlb_mclk";

		/* datain src
		 * 0: tdmin_a;
		 * 1: tdmin_b;
		 * 2: tdmin_c;
		 * 3: spdifin;
		 * 4: pdmin;
		 */
		datain_src = <4>;
		datain_chnum = <4>;
		datain_chmask = <0xf>;
		/* config which data pin for loopback */
		datain-lane-mask-in = <1 0 1 0>;

		/* calc mclk for datalb */
		mclk-fs = <256>;

		/* tdmin_lb src
		 * 0: tdmoutA
		 * 1: tdmoutB
		 * 2: tdmoutC
		 * 3: PAD_TDMINA_DIN*, refer to core pinmux
		 * 4: PAD_TDMINB_DIN*, refer to core pinmux
		 * 5: PAD_TDMINC_DIN*, refer to core pinmux
		 * 6: PAD_TDMINA_D*, oe, refer to core pinmux
		 * 7: PAD_TDMINB_D*, oe, refer to core pinmux
		 */
		/* if tdmin_lb >= 3, use external loopback */
		datalb_src = <0>;
		datalb_chnum = <2>;
		datalb_chmask = <0x3>;
		/* config which data pin as loopback */
		datalb-lane-mask-in = <1 0 0 0>;

		status = "okay";
	};

	loopbackb:loopback@1 {
		compatible = "amlogic, tm2-revb-loopbackb";
		#sound-dai-cells = <0>;

		clocks = <&clkaudio CLKID_AUDIO_GATE_PDM
			&clkc CLKID_FCLK_DIV3
			&clkc CLKID_MPLL3
			&clkaudio CLKID_AUDIO_PDMIN0
			&clkaudio CLKID_AUDIO_PDMIN1
			&clkc CLKID_MPLL0
			&clkaudio CLKID_AUDIO_MCLK_A>;
		clock-names = "pdm_gate",
			"pdm_sysclk_srcpll",
			"pdm_dclk_srcpll",
			"pdm_dclk",
			"pdm_sysclk",
			"tdminlb_mpll",
			"tdminlb_mclk";

		/* calc mclk for datain_lb */
		mclk-fs = <256>;

		/* datain src
		 * 0: tdmin_a;
		 * 1: tdmin_b;
		 * 2: tdmin_c;
		 * 3: spdifin;
		 * 4: pdmin;
		 */
		datain_src = <4>;
		datain_chnum = <4>;
		datain_chmask = <0xf>;
		/* config which data pin for loopback */
		datain-lane-mask-in = <1 0 1 0>;

		/* tdmin_lb src
		 * 0: tdmoutA
		 * 1: tdmoutB
		 * 2: tdmoutC
		 * 3: PAD_TDMINA_DIN*, refer to core pinmux
		 * 4: PAD_TDMINB_DIN*, refer to core pinmux
		 * 5: PAD_TDMINC_DIN*, refer to core pinmux
		 * 6: PAD_TDMINA_D*, oe, refer to core pinmux
		 * 7: PAD_TDMINB_D*, oe, refer to core pinmux
		 */
		/* if tdmin_lb >= 3, use external loopback */
		datalb_src = <1>;
		datalb_chnum = <2>;
		datalb_chmask = <0x3>;
		/* config which data pin as loopback */
		datalb-lane-mask-in = <1 0 0 0>;

		status = "disabled";
	};
}; /* end of audiobus */

&earc {
	status = "okay";
};

&periphs_pinctrl {
	/* audio pin mux */

	tdma_mclk: tdma_mclk {
		mux { /* GPIOH_4 */
			groups = "mclk0_h";
			function = "mclk0";
			drive-strength = <1>;
		};
	};

	tdmout_a: tdmout_a {
		mux { /* GPIOH_5, GPIOH_6, GPIOH_7, GPIOH_8*/
			groups = "tdma_fs_h",
				"tdma_sclk_h",
				"tdma_dout0_h",
				"tdma_dout1_h";
			function = "tdma_out";
			drive-strength = <1>;
			bias-pull-down;
		};
	};

	tdmin_a: tdmin_a {
		mux { /* GPIOH_11, GPIOH_12 */
			groups = "tdma_din0_h",
			    "tdma_din1_h";
			function = "tdma_in";
			drive-strength = <1>;
		};
	};

	tdmout_c: tdmout_c {
		mux { /* GPIODV_7, GPIODV_8, GPIODV_9 */
			groups = "tdmc_sclk",
				"tdmc_fs",
				"tdmc_dout0";
			function = "tdmc_out";
			drive-strength = <1>;
		};
	};

	tdmin_c: tdmin_c {
		mux { /* GPIODV_10 */
			groups = "tdmc_din1";
			function = "tdmc_in";
			drive-strength = <1>;
		};
	};

	spdifin_a: spdifin_a {
		mux { /* GPIODV_5 */
			groups = "spdif_in";
			function = "spdif_in";
		};
	};

	spdifout_a: spdifout_a {
		mux { /* GPIODV_4 */
			groups = "spdif_out_dv4";
			function = "spdif_out";
		};
	};

	spdifout_a_mute: spdifout_a_mute {
		mux { /* GPIODV_4 */
			groups = "GPIODV_4";
			function = "gpio_periphs";
		};
	};

	pdmin: pdmin {
		mux { /* GPIOZ_7, GPIOZ_8, GPIOZ_10 */
			groups = "pdm_dclk_z",
				"pdm_din0_z",
				"pdm_din2_z10";
			function = "pdm";
		};
	};

	hdmirx_a_mux:hdmirx_a_mux {
			mux {
				groups = "hdmirx_a_hpd", "hdmirx_a_det",
					"hdmirx_a_sda", "hdmirx_a_sck";
				function = "hdmirx_a";
			};
		};

		hdmirx_b_mux:hdmirx_b_mux {
			mux {
				groups = "hdmirx_b_hpd", "hdmirx_b_det",
					"hdmirx_b_sda", "hdmirx_b_sck";
				function = "hdmirx_b";
			};
		};

		hdmirx_c_mux:hdmirx_c_mux {
			mux {
				groups = "hdmirx_c_hpd", "hdmirx_c_det",
					"hdmirx_c_sda", "hdmirx_c_sck";
				function = "hdmirx_c";
			};
		};

}; /* end of pinctrl_periphs */

&audio_data{
	status = "okay";
};

&spicc0 {
	status = "okay";
	pinctrl-names = "default";
	pinctrl-0 = <&spicc0_pins_h>;
	cs-gpios = <&gpio GPIOH_20 0>;
};

&i2c3 {
	status = "okay";
	pinctrl-names="default";
	pinctrl-0=<&i2c3_h1_pins>;
	clock-frequency = <400000>;

	ad82584f: ad82584f@30 {
		compatible = "ESMT, ad82584f";
		#sound-dai-cells = <0>;
		reg = <0x30>;
		status = "okay";
		reset_pin = <&gpio GPIOH_13 0>;
		no_mclk;
	};

	ad82584f1: ad82584f@31 {
		compatible = "ESMT, ad82584f";
		#sound-dai-cells = <0>;
		reg = <0x31>;
		status = "okay";
		no_mclk;
	};
};

&spicc1 {
	status = "disabled";
	pinctrl-names = "default";
	pinctrl-0 = <&spicc1_pins_c>;
	cs-gpios = <&gpio GPIOC_3 0>;
};

&pwm_AO_cd {
	status = "okay";
};

&fb {
	status = "disabled";
	display_size_default = <1920 1080 1920 2160 32>;
	mem_size = <0x00800000 0x1980000 0x100000 0x100000 0x800000>;
	logo_addr = "0x7f800000";
	mem_alloc = <0>;
	pxp_mode = <0>; /** 0:normal mode 1:pxp mode */
};

&amhdmitx {
	status = "okay";
	repeater_tx = <0x0>;
};

&pcie_A {
	reset-gpio = <&gpio_ao GPIOAO_4 GPIO_ACTIVE_HIGH>;
	status = "disable";
};

&pcie_B {
	/* ab311 only pcie a, no pcie b */
	status = "disable";
};

&usb0 {
	status = "okay";
};

&usb2_phy_v2 {
	status = "okay";
	portnum = <3>;
};

&usb3_phy_v2 {
	status = "okay";
	portnum = <2>;
	portconfig-30 = <1>;
	portconfig-31 = <1>;
};

&usb_otg {
	status = "okay";
	otg = <0>;
};

&dwc2_a {
	status = "okay";
	/** 0: normal, 1: otg+dwc3 host only, 2: otg+dwc3 device only*/
	controller-type = <1>;
};

&saradc {
	status = "okay";
	vref-supply = <&vddao_1v8>;
};

&lut_dma {
	status = "okay";
};

&drm_vpu {
       status = "okay";
       logo_addr = "0x7f800000";
};

&drm_amhdmitx {
       status = "okay";
       hdcp = "disabled";
};

&drm_amcvbsout {
       status = "okay";
};

&drm_lcd {
       status = "disabled";
};

&aml_bt {
	status = "okay";
	reset-gpios = <&gpio       GPIOC_13       GPIO_ACTIVE_HIGH>;
};

&aml_wifi{
	status = "okay";
	dhd_static_buf;
	interrupt-gpios = <&gpio       GPIOC_12       GPIO_ACTIVE_HIGH>;
	power_on-gpios  = <&gpio       GPIOC_11       GPIO_ACTIVE_HIGH>;
};

&pwm_ab {
	pinctrl-names = "default";
	pinctrl-0 = <&pwm_b_c_pins>;
	status = "okay";
};

&uart_A {
	status = "okay";
	pinctrl-0 = <&uart_a_pins>, <&uart_a_cts_rts_pins>;
	uart-has-rtscts;
};
